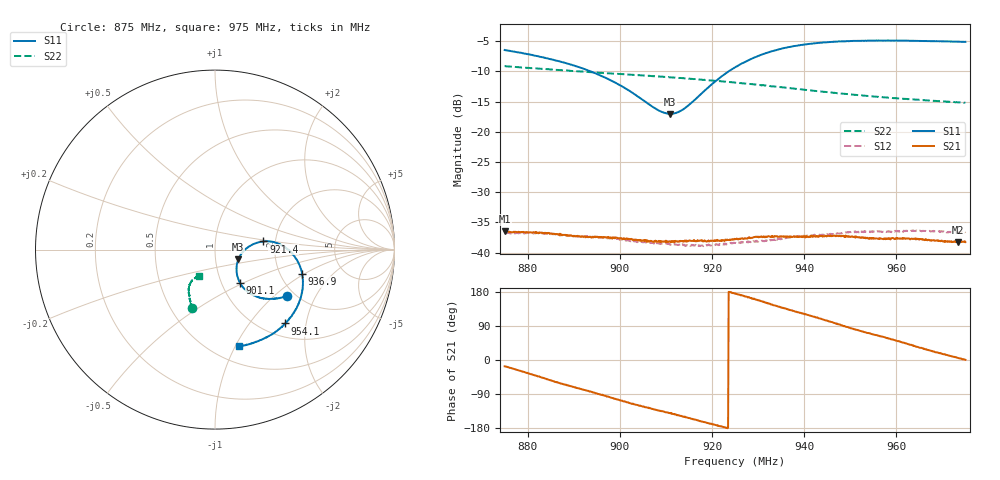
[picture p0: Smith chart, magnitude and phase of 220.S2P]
! C:\Users\rflab\Downloads\Lab5_KD_ZW\Q3\220.S2P
! Touchstone 1.1 file saved by VNA.EXE V1.65 (www.ke5fx.com/gpib/readme.htm)
! 11/18/2024 10:34:04 PM
!  Source: HEWLETT PACKARD,8753D,0,6.14
!  Min freq: 8.750000E+008 Hz
!  Max freq: 9.750200E+008 Hz
!  Points: 801
!  Params: S11 S21 S12 S22
# GHZ S MA R 50
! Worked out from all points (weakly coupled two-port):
!   801 points, 875 MHz to 975 MHz, reference 50 ohm
!   highest |S21| = -36.48 dB at 875.1 MHz (marker M1); lowest = -38.3 dB at 973.4 MHz (marker M2)
!   lowest |S11| = -17.0 dB at 910.9 MHz (marker M3), VSWR 1.33, Z = 64.5 - j7.12 ohm
!   |S11| at or under -10 dB: 893.6 MHz to 923.6 MHz (29.99 MHz wide, 3.3 % of centre)
!   |S22| runs from -15.2 to -9.1 dB; largest |S21 - S12| = 0.0039
!   S11 on the Smith chart (normalised r, x): 875 MHz: 1.81, -1.21; 901.1 MHz: 1.22, -0.47; 921.4 MHz: 1.73, +0.17; 936.9 MHz: 2.63, -0.95; 954.1 MHz: 1.25, -1.52; 975 MHz: 0.66, -1.03
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0.875  0.475 -32.9  0.0149 -16.6  0.01462 -5.9  0.3487 -111.6
0.875125  0.473 -33.2  0.01499 -16.8  0.01455 -6.7  0.3491 -111.6
0.8840018  0.4068 -42.4  0.01444 -49.6  0.01446 -40.6  0.3304 -114.3
0.8917534  0.3365 -49.5  0.01369 -77.4  0.01359 -69.7  0.3151 -116.2
0.8966293  0.2828 -52.7  0.01346 -94.0  0.01337 -87.3  0.3062 -117.4
0.9011302  0.2296 -53.1  0.013 -109.5  0.01279 -103.6  0.2991 -118.6
0.9083817  0.1504 -36.4  0.0123 -133.3  0.01189 -127.5  0.2867 -120.4
0.9108822  0.1408 -22.6  0.01233 -139.7  0.01174 -134.6  0.2825 -120.9
0.9123825  0.1444 -13.5  0.01239 -145.7  0.01166 -139.8  0.2799 -121.6
0.9140078  0.1556 -4.5  0.01243 -150.3  0.01162 -143.7  0.2772 -121.7
0.9181336  0.2141 8.0  0.01253 -163.5  0.01131 -155.4  0.2684 -122.9
0.9213843  0.2739 9.5  0.01262 -174.0  0.01153 -164.9  0.2631 -123.7
0.92501  0.3415 6.4  0.0129 175.1  0.01199 -175.2  0.2558 -124.6
0.9313863  0.4434 -4.7  0.01346 152.4  0.0124 164.3  0.2414 -125.9
0.9368874  0.5029 -15.5  0.01348 131.8  0.01332 146.1  0.2298 -126.3
0.9417633  0.5375 -25.0  0.01356 115.4  0.01388 128.5  0.2192 -126.5
0.9472645  0.5578 -35.1  0.01378 94.5  0.0145 108.7  0.2085 -126.3
0.9541408  0.568 -46.4  0.013 70.5  0.01491 82.7  0.1971 -125.5
0.9583917  0.5696 -53.0  0.01318 56.7  0.01493 66.8  0.1915 -124.8
0.9665183  0.5645 -64.7  0.01269 28.5  0.01506 36.2  0.1821 -123.4
0.9733947  0.5571 -74.1  0.01215 5.5  0.01484 11.2  0.1755 -121.9
0.97502  0.5547 -76.3  0.01224 0.6  0.01459 4.9  0.1738 -121.6
